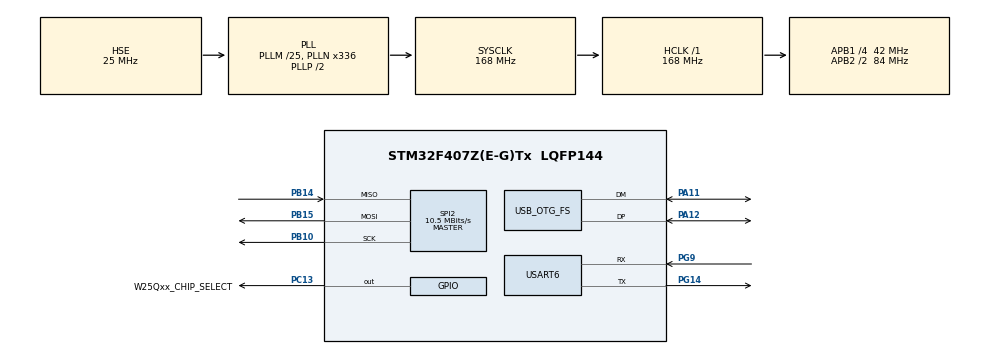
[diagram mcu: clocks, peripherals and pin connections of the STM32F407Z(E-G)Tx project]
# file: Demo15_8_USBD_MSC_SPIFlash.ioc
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Mcu.Family=STM32F4
Mcu.Name=STM32F407Z(E-G)Tx
Mcu.Package=LQFP144
NVIC.OTG_FS_IRQn=true\:0\:0\:false\:false\:true\:false\:true\:true
NVIC.PriorityGroup=NVIC_PRIORITYGROUP_4
PA11.Mode=Device_Only
PA11.Signal=USB_OTG_FS_DM
PA12.Mode=Device_Only
PA12.Signal=USB_OTG_FS_DP
PA13.Mode=Serial_Wire
PA13.Signal=SYS_JTMS-SWDIO
PA14.Mode=Serial_Wire
PA14.Signal=SYS_JTCK-SWCLK
PB10.Mode=Full_Duplex_Master
PB10.Signal=SPI2_SCK
PB14.Mode=Full_Duplex_Master
PB14.Signal=SPI2_MISO
PB15.Mode=Full_Duplex_Master
PB15.Signal=SPI2_MOSI
PC13-ANTI_TAMP.GPIO_Label=W25Qxx_CHIP_SELECT
PC13-ANTI_TAMP.PinState=GPIO_PIN_SET
PC13-ANTI_TAMP.Signal=GPIO_Output
PG14.Mode=Asynchronous
PG14.Signal=USART6_TX
PG9.Mode=Asynchronous
PG9.Signal=USART6_RX
PH0-OSC_IN.Mode=HSE-External-Oscillator
PH0-OSC_IN.Signal=RCC_OSC_IN
PH1-OSC_OUT.Mode=HSE-External-Oscillator
PH1-OSC_OUT.Signal=RCC_OSC_OUT
ProjectManager.HeapSize=0x1000
ProjectManager.StackSize=0x1000
ProjectManager.TargetToolchain=STM32CubeIDE
RCC.48MHZClocksFreq_Value=48000000
RCC.AHBFreq_Value=168000000
RCC.APB1CLKDivider=RCC_HCLK_DIV4
RCC.APB1Freq_Value=42000000
RCC.APB1TimFreq_Value=84000000
RCC.APB2CLKDivider=RCC_HCLK_DIV2
RCC.APB2Freq_Value=84000000
RCC.APB2TimFreq_Value=168000000
RCC.CortexFreq_Value=168000000
RCC.HCLKFreq_Value=168000000
RCC.HSE_VALUE=25000000
RCC.HSI_VALUE=16000000
RCC.PLLM=25
RCC.PLLN=336
RCC.PLLQ=7
RCC.RCC_RTC_Clock_Source=RCC_RTCCLKSOURCE_LSE
RCC.RCC_RTC_Clock_SourceVirtual=RCC_RTCCLKSOURCE_LSE
RCC.SYSCLKFreq_VALUE=168000000
RCC.SYSCLKSource=RCC_SYSCLKSOURCE_PLLCLK
RCC.VCOOutputFreq_Value=336000000
SPI2.BaudRatePrescaler=SPI_BAUDRATEPRESCALER_4
SPI2.CalculateBaudRate=10.5 MBits/s
SPI2.Direction=SPI_DIRECTION_2LINES
SPI2.Mode=SPI_MODE_MASTER
SPI2.VirtualType=VM_MASTER
USART6.VirtualMode=VM_ASYNC
USB_DEVICE.CLASS_NAME_FS=MSC
USB_DEVICE.MSC_MEDIA_PACKET-MSC_FS=4096
USB_DEVICE.USBD_MAX_STR_DESC_SIZ-MSC_FS=4096
USB_DEVICE.VirtualMode-MSC_FS=Msc
USB_DEVICE.VirtualModeFS=Msc_FS
USB_OTG_FS.VirtualMode=Device_Only
VP_USB_DEVICE_VS_USB_DEVICE_MSC_FS.Mode=MSC_FS
board=custom

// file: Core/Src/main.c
/* USER CODE BEGIN Header */
/**
  ******************************************************************************
  * @file           : main.c
  * @brief          : Main program body
  ******************************************************************************
  * @attention
  *
  * Copyright (c) 2025 STMicroelectronics.
  * All rights reserved.
  *
  * This software is licensed under terms that can be found in the LICENSE file
  * in the root directory of this software component.
  * If no LICENSE file comes with this software, it is provided AS-IS.
  *
  ******************************************************************************
  */
/* USER CODE END Header */
#include "main.h"
#include "spi.h"
#include "usart.h"
#include "usb_device.h"
#include "gpio.h"

/* USER CODE BEGIN Includes */
#include <stdio.h>
/* USER CODE END Includes */

/* USER CODE BEGIN PD */
// flash specification
#define W25Q80 	0XEF13
#define W25Q16 	0XEF14
#define W25Q32 	0XEF15
#define W25Qxx 	0XEF16
#define W25Q128	0XEF17
#define W25Q256 0XEF18

// instruction set, comes from DATASHEET.
// not each specification have such below instruction.
#define W25Qxx_WriteEnable			0x06
#define W25Qxx_WriteDisable			0x04
#define W25Qxx_ReadStatusReg1		0x05
#define W25Qxx_ReadStatusReg2		0x35
#define W25Qxx_ReadStatusReg3		0x15
#define W25Qxx_WriteStatusReg1  	0x01
#define W25Qxx_WriteStatusReg2  	0x31
#define W25Qxx_WriteStatusReg3  	0x11
#define W25Qxx_ReadData				0x03
#define W25Qxx_FastReadData			0x0B
#define W25Qxx_FastReadDual			0x3B
#define W25Qxx_PageProgram			0x02
#define W25Qxx_BlockErase			0xD8
#define W25Qxx_SectorErase			0x20
#define W25Qxx_ChipErase			0xC7
#define W25Qxx_PowerDown			0xB9
#define W25Qxx_ReleasePowerDown		0xAB
#define W25Qxx_DeviceID				0xAB
#define W25Qxx_ManufactDeviceID		0x90
#define W25Qxx_JedecDeviceID		0x9F
#define W25Qxx_Enable4ByteAddr    	0xB7
#define W25Qxx_Exit4ByteAddr      	0xE9
/* USER CODE END PD */

void SystemClock_Config(void);
/* USER CODE BEGIN PFP */
void W25Qxx_Init(void);
uint16_t W25Qxx_ReadID(void);  	        		//read FLASH_ID
uint8_t W25Qxx_ReadSR(uint8_t regno);   		//read status Register
void W25Qxx_Write_Enable(void);  				//write enable
void W25Qxx_Write_Disable(void);				//write protect
void W25Qxx_Write_NoCheck(uint8_t* pBuffer,uint32_t WriteAddr,uint16_t NumByteToWrite);
void W25Qxx_Read(uint8_t* pBuffer,uint32_t ReadAddr,uint16_t NumByteToRead);   //read flash
void W25Qxx_Write(uint8_t* pBuffer,uint32_t WriteAddr,uint16_t NumByteToWrite);//write flash
void W25Qxx_Erase_Sector(uint32_t Dst_Addr);	//sector erase
void W25Qxx_Wait_Busy(void);           			//wait for Idle
uint8_t SPI_ReadWriteByte(uint8_t TxData);
/* USER CODE END PFP */

/* USER CODE BEGIN 0 */
/**
  * @brief  read W25Qxx ID
  * @param  void
  * @retval uint16_t Temp:
  */
uint16_t W25Qxx_TYPE;							//define W25Qxx type
uint16_t W25Qxx_ReadID(void)
{
	uint16_t Temp = 0;
	HAL_GPIO_WritePin(W25Qxx_CHIP_SELECT_GPIO_Port, W25Qxx_CHIP_SELECT_Pin, GPIO_PIN_RESET);// enable CS,Low level active.
//	SPI_ReadWriteByte(0x90);					//sent read ID cmd
	SPI_ReadWriteByte(W25Qxx_ManufactDeviceID);	//BYTE1=90h,instruction code
	SPI_ReadWriteByte(0x00);					//BYTE2
	SPI_ReadWriteByte(0x00);					//BYTE3
	SPI_ReadWriteByte(0x00);					//BYTE4,return 00h
	Temp|=SPI_ReadWriteByte(0xFF)<<8;			//BYTE5,return efh,high 8bit
	Temp|=SPI_ReadWriteByte(0xFF);				//BYTE6,return 14h
	W25Qxx_TYPE=Temp;
	printf("FLASH SPECIFICATION IS :%x\r\n",W25Qxx_TYPE);	//test
	HAL_GPIO_WritePin(W25Qxx_CHIP_SELECT_GPIO_Port, W25Qxx_CHIP_SELECT_Pin, GPIO_PIN_SET);	// disable CS
	return Temp;
}

/**
  * @brief  W25Qxx Read SR
  * SR1:
  * BIT7  6   5   4   3   2   1   0
  * SPR   RV  TB BP2 BP1 BP0 WEL BUSY
  * SPR:default 0,SR protection bit, to be used with WP
  * TB,BP2,BP1,BP0:FLASH region write protection settings
  * WEL: write enable lock
  * BUSY:busy flag(1,busy;0,idle)
  * default:0x00
  * SR2:
  * BIT7  6   5   4   3   2   1   0
  * SUS   CMP LB3 LB2 LB1 (R) QE  SRP1
  * SR3:
  * BIT7      6    5    4   3   2   1   0
  * HOLD/RST  DRV1 DRV0 (R) (R) WPS ADP ADS
  *
  * @param  regno:SR1~3
  * @retval SR value
  */
uint8_t W25Qxx_ReadSR(uint8_t regno)
{
	uint8_t byte=0,command=0;
    switch(regno)
    {
        case 1:
            command=W25Qxx_ReadStatusReg1;    // read SR1,0x05
            break;
        case 2:
            command=W25Qxx_ReadStatusReg2;    // read SR2
            break;
        case 3:
            command=W25Qxx_ReadStatusReg3;    // read SR3
            break;
        default:
            command=W25Qxx_ReadStatusReg1;
            break;
    }
	HAL_GPIO_WritePin(W25Qxx_CHIP_SELECT_GPIO_Port, W25Qxx_CHIP_SELECT_Pin, GPIO_PIN_RESET);// enable CS
	SPI_ReadWriteByte(command);            	// BYTE1=05h,sent read SR CMD
	byte=SPI_ReadWriteByte(0Xff);          	// BYTE2,return SR1
	printf("FLASH SR1 :%d\r\n",byte);		// test
	HAL_GPIO_WritePin(W25Qxx_CHIP_SELECT_GPIO_Port, W25Qxx_CHIP_SELECT_Pin, GPIO_PIN_SET);	// disable CS
	return byte;
}

/**
  * @brief  W25Qxx write enable
  * 		set WEL bit
  * @param  void
  * @retval void
  */
void W25Qxx_Write_Enable(void)
{
	HAL_GPIO_WritePin(W25Qxx_CHIP_SELECT_GPIO_Port, W25Qxx_CHIP_SELECT_Pin, GPIO_PIN_RESET);	//enable CS
    SPI_ReadWriteByte(W25Qxx_WriteEnable);   													//sent write enable CMD
	HAL_GPIO_WritePin(W25Qxx_CHIP_SELECT_GPIO_Port, W25Qxx_CHIP_SELECT_Pin, GPIO_PIN_SET);		//disable CS
}

/**
  * @brief  W25Qxx write disable
  * 		reset WEL bit
  * @param  void
  * @retval void
  */
void W25Qxx_Write_Disable(void)
{
	HAL_GPIO_WritePin(W25Qxx_CHIP_SELECT_GPIO_Port, W25Qxx_CHIP_SELECT_Pin, GPIO_PIN_RESET);    // disable CS
    SPI_ReadWriteByte(W25Qxx_WriteDisable);  													// sent write disable CMD
	HAL_GPIO_WritePin(W25Qxx_CHIP_SELECT_GPIO_Port, W25Qxx_CHIP_SELECT_Pin, GPIO_PIN_SET);      // enable CS
}

/**
  * @brief  read SPI FLASH
  * 		Read data of specified length from the specified address.
  * @param  pBuffer:Data storage area
  * 		ReadAddr:Starting address(24bit)
  * 		NumByteToRead:Number of bytes to be read(max 65535)
  * @retval void
  */
void W25Qxx_Read(uint8_t* pBuffer,uint32_t ReadAddr,uint16_t NumByteToRead)
{
 	uint16_t i;
	HAL_GPIO_WritePin(W25Qxx_CHIP_SELECT_GPIO_Port, W25Qxx_CHIP_SELECT_Pin, GPIO_PIN_RESET);	// enable CS
    SPI_ReadWriteByte(W25Qxx_ReadData);      													// sent read CMD
    if(W25Qxx_TYPE==W25Q256)                													// if W25Q256 addr is 4 bytes，sent up to 8 bit.
    {
        SPI_ReadWriteByte((uint8_t)((ReadAddr)>>24));
    }
    SPI_ReadWriteByte((uint8_t)((ReadAddr)>>16));   											// sent 24bit addr
    SPI_ReadWriteByte((uint8_t)((ReadAddr)>>8));
    SPI_ReadWriteByte((uint8_t)ReadAddr);
    for(i=0;i<NumByteToRead;i++)
	{
        pBuffer[i]=SPI_ReadWriteByte(0XFF);    													// Circular reading
    }
	HAL_GPIO_WritePin(W25Qxx_CHIP_SELECT_GPIO_Port, W25Qxx_CHIP_SELECT_Pin, GPIO_PIN_SET);		// disable CS
}

/**
  * @brief  W25Qxx write one page
  * 		SPI writes less than 256 bytes of data within one page (0~65535)
  * 		Write up to 256 bytes of data starting at the specified address
  * @param  pBuffer:Data storage area
  * 		WriteAddr:Starting address(24bit)
  * 		NumByteToWrite:The bytes to be written(max 256),The size should not exceed the remaining bytes of the page.
  * @retval void
  */
void W25Qxx_Write_Page(uint8_t* pBuffer,uint32_t WriteAddr,uint16_t NumByteToWrite)
{
 	uint16_t i;
    W25Qxx_Write_Enable();                  													// SET WEL
	HAL_GPIO_WritePin(W25Qxx_CHIP_SELECT_GPIO_Port, W25Qxx_CHIP_SELECT_Pin, GPIO_PIN_RESET);	// enable CS
    SPI_ReadWriteByte(W25Qxx_PageProgram);														// sent write page CMD
    if(W25Qxx_TYPE==W25Q256)                													// If W25Q256, the address is 4 bytes, and the highest 8 bits need to be sent.
    {
        SPI_ReadWriteByte((uint8_t)((WriteAddr)>>24));
    }
    SPI_ReadWriteByte((uint8_t)((WriteAddr)>>16)); 												// sent 24bit addr
    SPI_ReadWriteByte((uint8_t)((WriteAddr)>>8));
    SPI_ReadWriteByte((uint8_t)WriteAddr);
    for(i=0;i<NumByteToWrite;i++)SPI_ReadWriteByte(pBuffer[i]);									// Circular writing
	HAL_GPIO_WritePin(W25Qxx_CHIP_SELECT_GPIO_Port, W25Qxx_CHIP_SELECT_Pin, GPIO_PIN_SET);    	// disable CS
	W25Qxx_Wait_Busy();					   														// Waiting for write completion
}

/**
  * @brief  write SPI FLASH with no check
  * 		The data in the address range to be written must be all 0XFF,
  * 		otherwise the data written at non-0XFF will fail.
  * 		with the function to turn page automatically.
  * 		Start writing the specified length of data at the specified address.
  * @param  pBuffer:data buffer
  * 		WriteAddr:start write add(24bit)
  * 		NumByteToWrite:bytes to be written (max 65535)
  * @retval void
  */
void W25Qxx_Write_NoCheck(uint8_t* pBuffer,uint32_t WriteAddr,uint16_t NumByteToWrite)
{
	uint16_t pageremain;
	pageremain=256-WriteAddr%256; 								// The bytes remaining on a single page
	if(NumByteToWrite<=pageremain)pageremain=NumByteToWrite;	// No more than 256 bytes
	while(1)
	{
		W25Qxx_Write_Page(pBuffer,WriteAddr,pageremain);
		if(NumByteToWrite==pageremain)break;					// Finished writing.
	 	else 													//NumByteToWrite>page remain
		{
			pBuffer+=pageremain;
			WriteAddr+=pageremain;

			NumByteToWrite-=pageremain;			  				// Subtract the bytes that have already been written
			if(NumByteToWrite>256)pageremain=256; 				// 256 bytes can be written at a time
			else pageremain=NumByteToWrite; 	  				// Not enough for 256 bytes
		}
	};
}

/**
  * @brief  write SPI FLASH
  * 		Start writing the specified length of data at the specified address,
  * 		include the function with erase operation.
  * @param  pBuffer:data buffer
  * 		WriteAddr:start write add(24bit)
  * 		NumByteToWrite:bytes to be written (max 65535)
  * @retval void
  */
uint8_t W25Qxx_BUFFER[4096];
void W25Qxx_Write(uint8_t* pBuffer,uint32_t WriteAddr,uint16_t NumByteToWrite)
{
	uint32_t secpos;
	uint16_t secoff;
	uint16_t secremain;
 	uint16_t i;
	uint8_t* W25Qxx_BUF;
   	W25Qxx_BUF=W25Qxx_BUFFER;
 	secpos=WriteAddr/4096;										// sector address
	secoff=WriteAddr%4096;										// offset within the sector
	secremain=4096-secoff;										// sector remaining space
// 	printf("ad:%X,nb:%X\r\n",WriteAddr,NumByteToWrite);			// test
 	if(NumByteToWrite<=secremain)secremain=NumByteToWrite;		// No more than 4096 bytes
	while(1)
	{
		W25Qxx_Read(W25Qxx_BUF,secpos*4096,4096);				// Read out the content of the entire sector;
		for(i=0;i<secremain;i++)								// Check data
		{
			if(W25Qxx_BUF[secoff+i]!=0XFF)break;				// need to be wiped out
		}
		if(i<secremain)											// need to be erase
		{
			W25Qxx_Erase_Sector(secpos);						// erase this sector
			for(i=0;i<secremain;i++)	   						// copy
			{
				W25Qxx_BUF[i+secoff]=pBuffer[i];
			}
			W25Qxx_Write_NoCheck(W25Qxx_BUF,secpos*4096,4096);	// write cover sector

		}else W25Qxx_Write_NoCheck(pBuffer,WriteAddr,secremain);// Write the already erased, write directly into the remaining interval of the sector.
		if(NumByteToWrite==secremain)break;						// Written up
		else													// Unfinished;
		{
			secpos++;											// Sector address increment 1
			secoff=0;											// The offset is 0

		   	pBuffer+=secremain;									// pointer offset
			WriteAddr+=secremain;								// Write address offset
		   	NumByteToWrite-=secremain;							// Decreasing number of bytes
			if(NumByteToWrite>4096)secremain=4096;				// The next sector is still not finished;
			else secremain=NumByteToWrite;						// The next sector can be written now.
		}
	};
}

/**
  * @brief  Erase a sector
  * @param  Dst_Addr:Sector address, set according to actual capacity.
  * 		Minimum time to erase a sector is 150ms.
  * @retval void
  */
void W25Qxx_Erase_Sector(uint32_t Dst_Addr)
{
//	printf("fe:%x\r\n",Dst_Addr);								// monitor flash erasing, used for test
 	Dst_Addr*=4096;
    W25Qxx_Write_Enable();                  					// SET WEL
    W25Qxx_Wait_Busy();
  	HAL_GPIO_WritePin(W25Qxx_CHIP_SELECT_GPIO_Port, W25Qxx_CHIP_SELECT_Pin, GPIO_PIN_RESET);
    SPI_ReadWriteByte(W25Qxx_SectorErase);   					// Send erase sector CMD
    if(W25Qxx_TYPE==W25Q256)                					// If W25Q256, the address is 4 bytes, the highest 8 bits need to be sent.
    {
        SPI_ReadWriteByte((uint8_t)((Dst_Addr)>>24));
    }
    SPI_ReadWriteByte((uint8_t)((Dst_Addr)>>16));  				// sent 24bit addr
    SPI_ReadWriteByte((uint8_t)((Dst_Addr)>>8));
    SPI_ReadWriteByte((uint8_t)Dst_Addr);

	HAL_GPIO_WritePin(W25Qxx_CHIP_SELECT_GPIO_Port, W25Qxx_CHIP_SELECT_Pin, GPIO_PIN_SET);
    W25Qxx_Wait_Busy();   				    					// Waiting for erase completion
}

/**
  * @brief  Wait for idle
  * @param  void
  * @retval void
  */
void W25Qxx_Wait_Busy(void)
{
	while((W25Qxx_ReadSR(1)&0x01)==0x01);   					// Wait for BUSY bit to clear
}

/**
  * @brief  write CMD into flash and then return a value,in block mode
  * 		either a byte is written or a byte is returned.
  * @param  TxData: bytes written
  * @retval Rxdata: bytes to be return
  */
uint8_t SPI_ReadWriteByte(uint8_t TxData)
{
	uint8_t Rxdata;
    HAL_SPI_TransmitReceive(&hspi2,&TxData,&Rxdata,1, 1000);
 	return Rxdata;          		    						// Return the received data
}

/**
 * @brief	SPI send data of specified length
 * @param	send_buf:send buffer start address
 * 			size: the bytes to be sent
 * @retval	HAL_OK
 */
//static HAL_StatusTypeDef SPI_Transmit(uint8_t* send_buf, uint16_t size)
//{
//    return HAL_SPI_Transmit(&hspi2, send_buf, size, 100);
//}

/**
 * @brief   SPI receive a specified bytes
 * @param   recv_buf:receive data buffer start address
 * 			size:the byte to receive
 * @retval  HAL_OK
 */
//static HAL_StatusTypeDef SPI_Receive(uint8_t* recv_buf, uint16_t size)
//{
//   return HAL_SPI_Receive(&hspi2, recv_buf, size, 100);
//}

/**
 * @brief   SPI transmit data while receiving a specified length of data.
 * @param   send_buf:sent buffer start address
 * @param   recv_buf:receive buffer start address
 * @param   size:the bytes to be sent/received
 * @retval  HAL_OK
 */
//static HAL_StatusTypeDef SPI_TransmitReceive(uint8_t* send_buf, uint8_t* recv_buf, uint16_t size)
//{
//   return HAL_SPI_TransmitReceive(&hspi2, send_buf, recv_buf, size, 100);
//}

/**
 * @brief   read Flash ID
 * @param   none
 * @retval  device_id
 */
//uint16_t W25Qxx_ReadID(void)
//{
//    uint8_t recv_buf[2] = {0};    //recv_buf[0]存放Manufacture ID, recv_buf[1]存放Device ID
//    uint16_t device_id = 0;
//    uint8_t send_data[4] = {ManufactDeviceID_CMD,0x00,0x00,0x00};
//    HAL_GPIO_WritePin(W25Qxx_CHIP_SELECT_GPIO_Port, W25Qxx_CHIP_SELECT_Pin, GPIO_PIN_RESET);
//    if (HAL_OK == SPI_Transmit(send_data, 4))
//    {
//        if (HAL_OK == SPI_Receive(recv_buf, 2))
//        {
//            device_id = (recv_buf[0] << 8) | recv_buf[1];
//        }
//    }
//    HAL_GPIO_WritePin(W25Qxx_CHIP_SELECT_GPIO_Port, W25Qxx_CHIP_SELECT_Pin, GPIO_PIN_SET);
//    return device_id;
//}

/**
 * @brief     read W25Qxx SR
 * @param     reg: SR1 or SR2
 * @retval    0
 */
//uint8_t W25Qxx_ReadSR(uint8_t reg)
//{
//    uint8_t result = 0;
//    uint8_t send_buf[4] = {0x00,0x00,0x00,0x00};
//    switch(reg)
//    {
//        case 1:
//            send_buf[0] = READ_STATU_REGISTER_1;
//        case 2:
//            send_buf[0] = READ_STATU_REGISTER_2;
//        case 0:
//        default:
//            send_buf[0] = READ_STATU_REGISTER_1;
//    }

//    HAL_GPIO_WritePin(W25Qxx_CHIP_SELECT_GPIO_Port, W25Qxx_CHIP_SELECT_Pin, GPIO_PIN_RESET);
//
//    if (HAL_OK == SPI_Transmit(send_buf, 4))
//    {
//        if (HAL_OK == SPI_Receive(&result, 1))
//        {
//            HAL_GPIO_WritePin(W25Qxx_CHIP_SELECT_GPIO_Port, W25Qxx_CHIP_SELECT_Pin, GPIO_PIN_SET);
//
//            return result;
//        }
//    }

//    HAL_GPIO_WritePin(W25Qxx_CHIP_SELECT_GPIO_Port, W25Qxx_CHIP_SELECT_Pin, GPIO_PIN_SET);
//    return 0;
//}

/**
 * @brief   block waiting for Flash to be idle
 * @param   none
 * @retval  none
 */
//static void W25Qxx_Wait_Busy(void)
//{
//    while((W25Qxx_ReadSR(1) & 0x01) == 0x01); // wait for the BUSY bit to clear
//}

/**
 * @brief   Read SPI FLASH data
 * @param   buffer:  data buffer
 *			start_addr:starting address to be read (32bit)
 * 			nbytes:the bytes to be read (max 65535)
 * @retval  successful return 0, failure return -1
 */
//int W25Qxx_Read(uint8_t* buffer, uint32_t start_addr, uint16_t nbytes)
//{
//    uint8_t cmd = READ_DATA_CMD;
//    start_addr = start_addr << 8;
//    W25Qxx_Wait_Busy();
//    HAL_GPIO_WritePin(W25Qxx_CHIP_SELECT_GPIO_Port, W25Qxx_CHIP_SELECT_Pin, GPIO_PIN_RESET);	// enable CS
//    SPI_Transmit(&cmd, 1);
//    if (HAL_OK == SPI_Transmit((uint8_t*)&start_addr, 3))
//    {
//        if (HAL_OK == SPI_Receive(buffer, nbytes))
//        {
//            HAL_GPIO_WritePin(W25Qxx_CHIP_SELECT_GPIO_Port, W25Qxx_CHIP_SELECT_Pin, GPIO_PIN_SET);
//            return 0;
//        }
//    }
//    HAL_GPIO_WritePin(W25Qxx_CHIP_SELECT_GPIO_Port, W25Qxx_CHIP_SELECT_Pin, GPIO_PIN_SET);
//    return -1;
//}

/**
 * @brief    W25Qxx write enable, set the WEL bit of the S1 register
 * @param    none
 * @retval
 */
//void W25Qxx_Write_Enable(void)
//{
//    uint8_t cmd= WRITE_ENABLE_CMD;
//    HAL_GPIO_WritePin(W25Qxx_CHIP_SELECT_GPIO_Port, W25Qxx_CHIP_SELECT_Pin, GPIO_PIN_RESET);
//    SPI_Transmit(&cmd, 1);
//    HAL_GPIO_WritePin(W25Qxx_CHIP_SELECT_GPIO_Port, W25Qxx_CHIP_SELECT_Pin, GPIO_PIN_SET);
//    W25Qxx_Wait_Busy();
//}

/**
 * @brief    W25Qxx write disable, clear WEL bit
 * @param    none
 * @retval   none
 */
//void W25Qxx_Write_Disable(void)
//{
//    uint8_t cmd = WRITE_DISABLE_CMD;
//    HAL_GPIO_WritePin(W25Qxx_CHIP_SELECT_GPIO_Port, W25Qxx_CHIP_SELECT_Pin, GPIO_PIN_RESET);
//    SPI_Transmit(&cmd, 1);
//    HAL_GPIO_WritePin(W25Qxx_CHIP_SELECT_GPIO_Port, W25Qxx_CHIP_SELECT_Pin, GPIO_PIN_SET);
//    W25Qxx_Wait_Busy();
//}

/**
 * @brief   W25Qxx Erase entire sector
 * @param   sector_addr:sector address set according to actual capacity;
 * @retval  none
 * @note    Blocking mode
 */
//void W25Qxx_Erase_Sector(uint32_t sector_addr)
//{
//    uint8_t cmd = SECTOR_ERASE_CMD;
//    sector_addr *= 4096;		//each block has 16 sectors, each sector is 4KB, and it needs to be converted into a real address
//    sector_addr <<= 8;
//    W25Qxx_Write_Enable();	//erase operation is to write 0xFF, and write enable needs to be turned on.
//    W25Qxx_Wait_Busy();		//waiting for write enable to complete;
//    HAL_GPIO_WritePin(W25Qxx_CHIP_SELECT_GPIO_Port, W25Qxx_CHIP_SELECT_Pin, GPIO_PIN_RESET);	// enable CS
//    SPI_Transmit(&cmd, 1);
//    SPI_Transmit((uint8_t*)&sector_addr, 3);
//    HAL_GPIO_WritePin(W25Qxx_CHIP_SELECT_GPIO_Port, W25Qxx_CHIP_SELECT_Pin, GPIO_PIN_SET);
//    W25Qxx_Wait_Busy();		//waiting for sector erase completion
//}

/**
 * @brief	write page
 * @param	dat:data buffer
 *			WriteAddr:the starting address of the data buffer to be written
 *			nbytes:the bytes to write (0-256)
 * @retval	none
 */
//void W25Qxx_Page_Program(uint8_t* dat, uint32_t WriteAddr, uint16_t nbytes)
//{
//    uint8_t cmd = PAGE_PROGRAM_CMD;
//    WriteAddr <<= 8;
//    W25Qxx_Write_Enable();
//    HAL_GPIO_WritePin(W25Qxx_CHIP_SELECT_GPIO_Port, W25Qxx_CHIP_SELECT_Pin, GPIO_PIN_RESET);	// enable CS
//    SPI_Transmit(&cmd, 1);
//    SPI_Transmit((uint8_t*)&WriteAddr, 3);
//    SPI_Transmit(dat, nbytes);
//    HAL_GPIO_WritePin(W25Qxx_CHIP_SELECT_GPIO_Port, W25Qxx_CHIP_SELECT_Pin, GPIO_PIN_SET);
//    W25Qxx_Wait_Busy();
//}

/**
 * @brief	write page no check
 * 			The data written in the address range must be ensured to be all 0XFF,
 * 			otherwise the data written will be lost at non-0XFF
 * 			with automatic page turning function,
 * 			write the specified bytes from the specified start address,
 * 			but ensure that the address does not exceed the range.
 * @param	pBuffer:data buffer
 *			WriteAddr:starting address to be written (24 bit)
 *			NumByteToWrite:bytes to write (max 65535)
 * @retval	none
 * 			CHECK OK
 */
//void W25Qxx_Write_NoCheck(uint8_t* pBuffer,uint32_t WriteAddr,uint16_t NumByteToWrite)
//{
//	uint16_t pageremain;
//	pageremain=256-WriteAddr%256;					// the bytes remaining on a single page
//	if(NumByteToWrite<=pageremain)pageremain=NumByteToWrite;	//no more than 4096 bytes
//	while(1)
//	{
//		W25Qxx_Page_Program(pBuffer,WriteAddr,pageremain);
//		if(NumByteToWrite==pageremain)break;		// Written up
//	 	else //NumByteToWrite>pageremain
//		{
//			pBuffer+=pageremain;
//			WriteAddr+=pageremain;
//			NumByteToWrite-=pageremain;			  	// subtract the bytes written
//			if(NumByteToWrite>256)pageremain=256; 	// 256 bytes can be written at a time
//			else pageremain=NumByteToWrite; 	  	// not enough for 256 bytes
//		}
//	};
//}

/**
 * @brief	write SPI FLASH
 * 			start writing the specified size of data at the specified address.
 * 			with erase function.
 * @param	pBuffer:data buffer
 *			WriteAddr:the starting address of the data buffer to be written
 *			NumByteToWrite:the bytes to write (max 65535)
 * @retval	none
 */
//uint8_t W25Qxx_BUFFER[4096];
//void W25Qxx_Write(uint8_t* pBuffer,uint32_t WriteAddr,uint16_t NumByteToWrite)
//{
//	uint32_t secpos;
//	uint16_t secoff;
//	uint16_t secremain;
// 	uint16_t i;
//	uint8_t * W25Qxx_BUF;
//  W25Qxx_BUF=W25Qxx_BUFFER;
// 	secpos=WriteAddr/4096;											// sector addr
//	secoff=WriteAddr%4096;											// offset within the sector
//	secremain=4096-secoff;											// remaining space size
// 	//printf("ad:%X,nb:%X\r\n",WriteAddr,NumByteToWrite);			// test
// 	if(NumByteToWrite<=secremain)secremain=NumByteToWrite;			// no more than 4096 bytes
//	while(1)
//	{
//		W25Qxx_Read(W25Qxx_BUF,secpos*4096,4096);					// read the entire sector of memory
//		for(i=0;i<secremain;i++)									// check
//		{
//			if(W25Qxx_BUF[secoff+i]!=0XFF)break;
//		}
//		if(i<secremain)
//		{
//			W25Qxx_Erase_Sector(secpos);							// erase sector
//			for(i=0;i<secremain;i++)	   							// copy
//			{
//				W25Qxx_BUF[i+secoff]=pBuffer[i];
//			}
//			W25Qxx_Write_NoCheck(W25Qxx_BUF,secpos*4096,4096);		// write entire sector

//		}else W25Qxx_Write_NoCheck(pBuffer,WriteAddr,secremain);	// write into addr that has been erased, write the remaining interval of the sector directly.
//		if(NumByteToWrite==secremain)break;							// written up
//		else														// write unfinished;
//		{
//			secpos++;												// sector address auto-increment by 1
//			secoff=0;												// offset bit set 0

//		   	pBuffer+=secremain;  									// pointer offset
//			WriteAddr+=secremain;									// write addr offset
//		   	NumByteToWrite-=secremain;								// decreasing number of bytes
//			if(NumByteToWrite>4096)secremain=4096;					// the next sector is still not finished;
//			else secremain=NumByteToWrite;							// the next sector can be written now.
//		}
//	};
//}
/* USER CODE END 0 */

int main(void)
{

  /* MCU Configuration--------------------------------------------------------*/

  /* Reset of all peripherals, Initializes the Flash interface and the Systick. */
  HAL_Init();

  /* Configure the system clock */
  SystemClock_Config();

  /* Initialize all configured peripherals */
  MX_GPIO_Init();
  MX_SPI2_Init();
  MX_USART6_UART_Init();
  MX_USB_DEVICE_Init();

  /* Infinite loop */
  while (1)
  {

  }
}

void SystemClock_Config(void)
{
  RCC_OscInitTypeDef RCC_OscInitStruct = {0};
  RCC_ClkInitTypeDef RCC_ClkInitStruct = {0};

  /** Configure the main internal regulator output voltage
  */
  __HAL_RCC_PWR_CLK_ENABLE();
  __HAL_PWR_VOLTAGESCALING_CONFIG(PWR_REGULATOR_VOLTAGE_SCALE1);

  /** Initializes the RCC Oscillators according to the specified parameters
  * in the RCC_OscInitTypeDef structure.
  */
  RCC_OscInitStruct.OscillatorType = RCC_OSCILLATORTYPE_HSE;
  RCC_OscInitStruct.HSEState = RCC_HSE_ON;
  RCC_OscInitStruct.PLL.PLLState = RCC_PLL_ON;
  RCC_OscInitStruct.PLL.PLLSource = RCC_PLLSOURCE_HSE;
  RCC_OscInitStruct.PLL.PLLM = 25;
  RCC_OscInitStruct.PLL.PLLN = 336;
  RCC_OscInitStruct.PLL.PLLP = RCC_PLLP_DIV2;
  RCC_OscInitStruct.PLL.PLLQ = 7;
  if (HAL_RCC_OscConfig(&RCC_OscInitStruct) != HAL_OK)
  {
    Error_Handler();
  }

  /** Initializes the CPU, AHB and APB buses clocks
  */
  RCC_ClkInitStruct.ClockType = RCC_CLOCKTYPE_HCLK|RCC_CLOCKTYPE_SYSCLK
                              |RCC_CLOCKTYPE_PCLK1|RCC_CLOCKTYPE_PCLK2;
  RCC_ClkInitStruct.SYSCLKSource = RCC_SYSCLKSOURCE_PLLCLK;
  RCC_ClkInitStruct.AHBCLKDivider = RCC_SYSCLK_DIV1;
  RCC_ClkInitStruct.APB1CLKDivider = RCC_HCLK_DIV4;
  RCC_ClkInitStruct.APB2CLKDivider = RCC_HCLK_DIV2;

  if (HAL_RCC_ClockConfig(&RCC_ClkInitStruct, FLASH_LATENCY_5) != HAL_OK)
  {
    Error_Handler();
  }
}

/* USER CODE BEGIN 4 */
int __io_putchar(int ch)
{
	HAL_UART_Transmit(&huart6,(uint8_t*)&ch,1,0xFFFF);
	return ch;
}
/* USER CODE END 4 */

void Error_Handler(void)
{
  __disable_irq();
  while (1)
  {
  }
}
